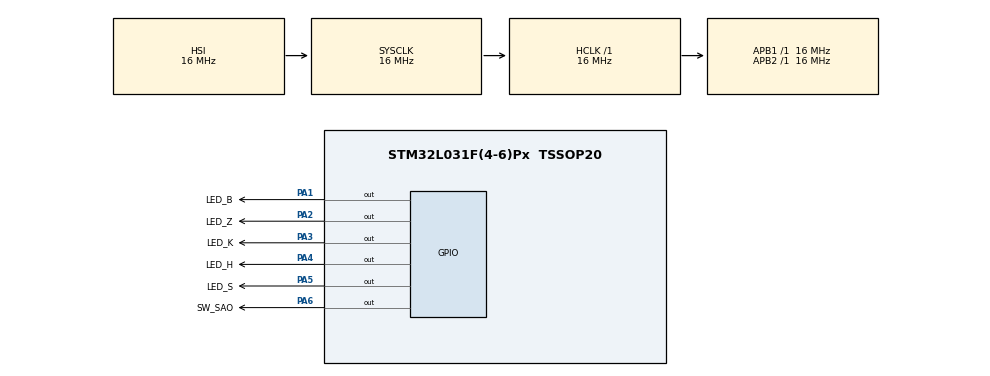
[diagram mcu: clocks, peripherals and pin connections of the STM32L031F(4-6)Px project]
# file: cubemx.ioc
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Mcu.Family=STM32L0
Mcu.Name=STM32L031F(4-6)Px
Mcu.Package=TSSOP20
PA1.GPIO_Label=LED_B
PA1.GPIO_ModeDefaultOutputPP=GPIO_MODE_OUTPUT_PP
PA1.GPIO_PuPd=GPIO_NOPULL
PA1.GPIO_Speed=GPIO_SPEED_FREQ_LOW
PA1.PinState=GPIO_PIN_SET
PA1.Signal=GPIO_Output
PA10.Signal=I2C1_SDA
PA13.Signal=LPUART1_RX
PA14.Signal=LPUART1_TX
PA2.GPIO_Label=LED_Z
PA2.GPIO_ModeDefaultOutputPP=GPIO_MODE_OUTPUT_PP
PA2.GPIO_PuPd=GPIO_NOPULL
PA2.GPIO_Speed=GPIO_SPEED_FREQ_LOW
PA2.PinState=GPIO_PIN_SET
PA2.Signal=GPIO_Output
PA3.GPIO_Label=LED_K
PA3.GPIO_ModeDefaultOutputPP=GPIO_MODE_OUTPUT_PP
PA3.GPIO_PuPd=GPIO_NOPULL
PA3.GPIO_Speed=GPIO_SPEED_FREQ_LOW
PA3.PinState=GPIO_PIN_SET
PA3.Signal=GPIO_Output
PA4.GPIO_Label=LED_H
PA4.GPIO_ModeDefaultOutputPP=GPIO_MODE_OUTPUT_PP
PA4.GPIO_PuPd=GPIO_NOPULL
PA4.GPIO_Speed=GPIO_SPEED_FREQ_LOW
PA4.PinState=GPIO_PIN_SET
PA4.Signal=GPIO_Output
PA5.GPIO_Label=LED_S
PA5.GPIO_ModeDefaultOutputPP=GPIO_MODE_OUTPUT_PP
PA5.GPIO_PuPd=GPIO_NOPULL
PA5.GPIO_Speed=GPIO_SPEED_FREQ_LOW
PA5.PinState=GPIO_PIN_SET
PA5.Signal=GPIO_Output
PA6.GPIO_Label=SW_SAO
PA6.GPIO_ModeDefaultOutputPP=GPIO_MODE_OUTPUT_PP
PA6.GPIO_PuPd=GPIO_NOPULL
PA6.GPIO_Speed=GPIO_SPEED_FREQ_LOW
PA6.PinState=GPIO_PIN_SET
PA6.Signal=GPIO_Output
PA9.Signal=I2C1_SCL
ProjectManager.HeapSize=0x200
ProjectManager.StackSize=0x400
ProjectManager.TargetToolchain=Makefile
RCC.AHBFreq_Value=16000000
RCC.APB1Freq_Value=16000000
RCC.APB1TimFreq_Value=16000000
RCC.APB2Freq_Value=16000000
RCC.APB2TimFreq_Value=16000000
RCC.HCLKFreq_Value=16000000
RCC.HSE_VALUE=8000000
RCC.HSI16_VALUE=16000000
RCC.HSI_VALUE=16000000
RCC.LSE_VALUE=32768
RCC.MSI_VALUE=2097000
RCC.SYSCLKFreq_VALUE=16000000
RCC.SYSCLKSource=RCC_SYSCLKSOURCE_HSI
RCC.VCOOutputFreq_Value=48000000
board=custom

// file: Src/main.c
/**
  ******************************************************************************
  * @file           : main.c
  * @brief          : Main program body
  ******************************************************************************
  ** This notice applies to any and all portions of this file
  * that are not between comment pairs USER CODE BEGIN and
  * USER CODE END. Other portions of this file, whether
  * inserted by the user or by software development tools
  * are owned by their respective copyright owners.
  *
  * COPYRIGHT(c) 2018 STMicroelectronics
  *
  * Redistribution and use in source and binary forms, with or without modification,
  * are permitted provided that the following conditions are met:
  *   1. Redistributions of source code must retain the above copyright notice,
  *      this list of conditions and the following disclaimer.
  *   2. Redistributions in binary form must reproduce the above copyright notice,
  *      this list of conditions and the following disclaimer in the documentation
  *      and/or other materials provided with the distribution.
  *   3. Neither the name of STMicroelectronics nor the names of its contributors
  *      may be used to endorse or promote products derived from this software
  *      without specific prior written permission.
  *
  * THIS SOFTWARE IS PROVIDED BY THE COPYRIGHT HOLDERS AND CONTRIBUTORS "AS IS"
  * AND ANY EXPRESS OR IMPLIED WARRANTIES, INCLUDING, BUT NOT LIMITED TO, THE
  * IMPLIED WARRANTIES OF MERCHANTABILITY AND FITNESS FOR A PARTICULAR PURPOSE ARE
  * DISCLAIMED. IN NO EVENT SHALL THE COPYRIGHT HOLDER OR CONTRIBUTORS BE LIABLE
  * FOR ANY DIRECT, INDIRECT, INCIDENTAL, SPECIAL, EXEMPLARY, OR CONSEQUENTIAL
  * DAMAGES (INCLUDING, BUT NOT LIMITED TO, PROCUREMENT OF SUBSTITUTE GOODS OR
  * SERVICES; LOSS OF USE, DATA, OR PROFITS; OR BUSINESS INTERRUPTION) HOWEVER
  * CAUSED AND ON ANY THEORY OF LIABILITY, WHETHER IN CONTRACT, STRICT LIABILITY,
  * OR TORT (INCLUDING NEGLIGENCE OR OTHERWISE) ARISING IN ANY WAY OUT OF THE USE
  * OF THIS SOFTWARE, EVEN IF ADVISED OF THE POSSIBILITY OF SUCH DAMAGE.
  *
  ******************************************************************************
  */
#include "main.h"
#include "stm32l0xx_hal.h"

/* USER CODE BEGIN PV */
/* Private variables ---------------------------------------------------------*/

/* USER CODE END PV */

void SystemClock_Config(void);
static void MX_GPIO_Init(void);

uint8_t rand(void);
void sequence(void);
void sequence_reverse(void);
void sequence_flash_after(void);
void sequence_reverse_flash_after(void);
void flash_all(void);
void flash_hold_sequence(void);
void flash_sequence(void);
void flash_sequence_times(uint8_t times);
void flash_times(uint8_t times);
void flash(GPIO_TypeDef* GPIOx, uint16_t pin);
void off(void);

/* USER CODE BEGIN PFP */
/* Private function prototypes -----------------------------------------------*/

/* USER CODE END PFP */

/* USER CODE BEGIN 0 */
#define MAX_RAND 500
uint8_t random_values[MAX_RAND] = {
  7, 3, 4, 6, 9, 2, 2, 9, 1, 9, 7, 5, 9, 2, 9, 2, 7, 8, 0, 4,
  5, 5, 0, 3, 6, 8, 0, 10, 0, 9, 0, 8, 6, 6, 8, 2, 10, 4, 6, 10,
  1, 6, 0, 5, 10, 2, 4, 2, 0, 2, 0, 10, 10, 3, 10, 9, 3, 4, 9, 6,
  0, 7, 0, 5, 8, 3, 3, 6, 8, 0, 6, 6, 3, 4, 4, 9, 1, 3, 7, 10,
  9, 4, 8, 9, 4, 4, 8, 10, 3, 9, 3, 9, 2, 5, 2, 3, 8, 4, 8, 10,
  10, 10, 2, 4, 10, 7, 8, 3, 5, 1, 1, 10, 2, 8, 8, 4, 4, 0, 2, 3,
  3, 10, 0, 2, 0, 9, 10, 0, 5, 6, 2, 10, 0, 9, 9, 0, 5, 9, 4, 1,
  4, 4, 8, 9, 7, 8, 0, 2, 10, 2, 1, 1, 4, 9, 9, 6, 6, 7, 1, 8,
  2, 3, 9, 0, 1, 6, 8, 7, 3, 1, 8, 7, 0, 3, 3, 3, 2, 3, 10, 5,
  6, 1, 8, 9, 1, 7, 6, 3, 5, 1, 0, 9, 9, 1, 5, 6, 1, 2, 4, 4,
  9, 0, 6, 2, 0, 7, 4, 7, 7, 2, 3, 7, 0, 9, 7, 5, 0, 6, 6, 5,
  10, 0, 3, 8, 5, 6, 4, 1, 7, 2, 4, 0, 6, 4, 10, 1, 0, 0, 7, 1,
  0, 6, 4, 3, 5, 2, 7, 1, 8, 8, 9, 6, 1, 5, 4, 5, 6, 10, 3, 5,
  3, 10, 5, 10, 6, 10, 0, 7, 5, 10, 7, 5, 3, 3, 6, 0, 10, 0, 4, 7,
  2, 6, 0, 1, 5, 3, 4, 2, 4, 9, 0, 7, 9, 5, 9, 8, 8, 0, 5, 8,
  1, 10, 6, 0, 1, 1, 5, 9, 1, 7, 5, 7, 2, 1, 9, 7, 9, 1, 6, 5,
  9, 3, 4, 0, 3, 8, 4, 0, 10, 6, 3, 3, 6, 4, 8, 2, 9, 8, 3, 3,
  10, 4, 2, 3, 8, 5, 5, 4, 0, 5, 8, 8, 3, 10, 9, 8, 5, 2, 1, 10,
  10, 2, 4, 6, 2, 7, 9, 6, 9, 10, 4, 3, 8, 7, 8, 1, 9, 8, 6, 3,
  7, 1, 5, 9, 0, 6, 8, 1, 8, 1, 3, 3, 0, 0, 7, 1, 1, 7, 5, 6,
  7, 3, 5, 0, 7, 1, 7, 6, 10, 6, 3, 5, 4, 9, 9, 7, 5, 6, 4, 6,
  7, 3, 2, 2, 0, 3, 8, 9, 7, 2, 5, 8, 4, 10, 3, 7, 6, 0, 5, 3,
  1, 7, 10, 10, 1, 10, 3, 3, 5, 8, 0, 6, 5, 9, 5, 1, 2, 1, 9, 1,
  1, 8, 6, 3, 7, 0, 8, 10, 7, 8, 7, 4, 0, 8, 3, 7, 8, 3, 10, 6,
  9, 6, 10, 8, 3, 4, 4, 7, 0, 10, 0, 0, 4, 7, 6, 7, 8, 9, 9, 8
};
uint current_value = 0;

uint8_t rand(void) {
  if(current_value >= MAX_RAND) {
    current_value = 0;
  }
  return random_values[current_value++];
}

void sequence(void) {
  HAL_GPIO_WritePin(GPIOA, LED_B_Pin, GPIO_PIN_SET);
  HAL_Delay(250);
  HAL_GPIO_WritePin(GPIOA, LED_Z_Pin, GPIO_PIN_SET);
  HAL_Delay(250);
  HAL_GPIO_WritePin(GPIOA, LED_K_Pin, GPIO_PIN_SET);
  HAL_Delay(250);
  HAL_GPIO_WritePin(GPIOA, LED_H_Pin, GPIO_PIN_SET);
  HAL_Delay(250);
  HAL_GPIO_WritePin(GPIOA, LED_S_Pin, GPIO_PIN_SET);
  HAL_Delay(250);
  HAL_GPIO_WritePin(GPIOA, SW_SAO_Pin, GPIO_PIN_SET);
  HAL_Delay(250);
  off();
}

void sequence_reverse(void) {
  HAL_GPIO_WritePin(GPIOA, LED_S_Pin, GPIO_PIN_SET);
  HAL_Delay(250);
  HAL_GPIO_WritePin(GPIOA, LED_H_Pin, GPIO_PIN_SET);
  HAL_Delay(250);
  HAL_GPIO_WritePin(GPIOA, LED_K_Pin, GPIO_PIN_SET);
  HAL_Delay(250);
  HAL_GPIO_WritePin(GPIOA, LED_Z_Pin, GPIO_PIN_SET);
  HAL_Delay(250);
  HAL_GPIO_WritePin(GPIOA, LED_B_Pin, GPIO_PIN_SET);
  HAL_Delay(250);
  HAL_GPIO_WritePin(GPIOA, SW_SAO_Pin, GPIO_PIN_SET);
  HAL_Delay(250);
  off();
}

void sequence_flash_after(void) {
  sequence();
  HAL_Delay(250);
  flash(
    GPIOA,
    LED_B_Pin|LED_Z_Pin|LED_K_Pin|LED_H_Pin|LED_S_Pin|SW_SAO_Pin
  );
  HAL_Delay(250);
  flash(
    GPIOA,
    LED_B_Pin|LED_Z_Pin|LED_K_Pin|LED_H_Pin|LED_S_Pin|SW_SAO_Pin
  );
}

void sequence_reverse_flash_after(void) {
  sequence_reverse();
  HAL_Delay(250);
  flash(
    GPIOA,
    LED_B_Pin|LED_Z_Pin|LED_K_Pin|LED_H_Pin|LED_S_Pin|SW_SAO_Pin
  );
  HAL_Delay(250);
  flash(
    GPIOA,
    LED_B_Pin|LED_Z_Pin|LED_K_Pin|LED_H_Pin|LED_S_Pin|SW_SAO_Pin
  );
}

void flash_all(void) {
  flash_times(3);
}

void flash_hold_sequence(void) {
  flash(GPIOA, LED_B_Pin);
  HAL_Delay(250);
  flash(GPIOA, LED_Z_Pin);
  HAL_Delay(250);
  flash(GPIOA, LED_K_Pin);
  HAL_Delay(250);
  flash(GPIOA, LED_H_Pin);
  HAL_Delay(250);
  flash(GPIOA, LED_S_Pin);
  HAL_Delay(250);
  flash(GPIOA, SW_SAO_Pin);
  HAL_Delay(250);
  off();
}

void flash_sequence(void) {
  flash(GPIOA, LED_B_Pin);
  flash(GPIOA, LED_Z_Pin);
  flash(GPIOA, LED_K_Pin);
  flash(GPIOA, LED_H_Pin);
  flash(GPIOA, LED_S_Pin);
  flash(GPIOA, SW_SAO_Pin);
}

void flash_sequence_times(uint8_t times) {
  for(uint8_t ii=times;ii>=0;ii--) {
    flash_sequence();
  }
}

void flash_times(uint8_t times) {
  for(uint8_t ii=times;ii>=0;ii--) {
    flash(
      GPIOA,
      LED_B_Pin|LED_Z_Pin|LED_K_Pin|LED_H_Pin|LED_S_Pin|SW_SAO_Pin
    );
    HAL_Delay(100);
  }
}

void flash(GPIO_TypeDef* GPIOx, uint16_t pin) {
  HAL_GPIO_WritePin(GPIOx, pin, GPIO_PIN_SET);
  HAL_Delay(250);
  HAL_GPIO_WritePin(GPIOx, pin, GPIO_PIN_RESET);
}

void off(void) {
  HAL_GPIO_WritePin(
    GPIOA,
    LED_B_Pin|LED_Z_Pin|LED_K_Pin|LED_H_Pin|LED_S_Pin|SW_SAO_Pin,
    GPIO_PIN_SET
  );
}

/**
  * @brief  The application loop call.
  *
  * @retval None
  */
void loop(void) {
  int random_value = rand();
  switch(random_value) {
    case 0:
      flash_all();
      break;
    case 1:
      sequence();
      break;
    case 2:
      sequence_reverse();
      break;
    case 3:
      sequence_flash_after();
      break;
    case 4:
      sequence_reverse_flash_after();
      break;
    case 5:
      flash_hold_sequence();
      break;
    case 6:
      flash_sequence();
      break;
    case 7:
    case 8:
    case 9:
    case 10:
      flash_sequence_times(5);
      flash_times(10);
      flash_sequence_times(10);
      break;
  }
  off();
  HAL_Delay(1000 * 60 * rand());
}

/* USER CODE END 0 */

int main(void)
{

  /* MCU Configuration----------------------------------------------------------*/

  /* Reset of all peripherals, Initializes the Flash interface and the Systick. */
  HAL_Init();

  /* Configure the system clock */
  SystemClock_Config();

  /* Initialize all configured peripherals */
  MX_GPIO_Init();

  /* Infinite loop */
  /* USER CODE BEGIN WHILE */
  while (1)
  {
    loop();
  /* USER CODE END WHILE */

  }

}

void SystemClock_Config(void)
{

  RCC_OscInitTypeDef RCC_OscInitStruct;
  RCC_ClkInitTypeDef RCC_ClkInitStruct;

    /**Configure the main internal regulator output voltage
    */
  __HAL_PWR_VOLTAGESCALING_CONFIG(PWR_REGULATOR_VOLTAGE_SCALE1);

    /**Initializes the CPU, AHB and APB busses clocks
    */
  RCC_OscInitStruct.OscillatorType = RCC_OSCILLATORTYPE_HSI;
  RCC_OscInitStruct.HSIState = RCC_HSI_ON;
  RCC_OscInitStruct.HSICalibrationValue = 16;
  RCC_OscInitStruct.PLL.PLLState = RCC_PLL_NONE;
  if (HAL_RCC_OscConfig(&RCC_OscInitStruct) != HAL_OK)
  {
    _Error_Handler(__FILE__, __LINE__);
  }

    /**Initializes the CPU, AHB and APB busses clocks
    */
  RCC_ClkInitStruct.ClockType = RCC_CLOCKTYPE_HCLK|RCC_CLOCKTYPE_SYSCLK
                              |RCC_CLOCKTYPE_PCLK1|RCC_CLOCKTYPE_PCLK2;
  RCC_ClkInitStruct.SYSCLKSource = RCC_SYSCLKSOURCE_HSI;
  RCC_ClkInitStruct.AHBCLKDivider = RCC_SYSCLK_DIV1;
  RCC_ClkInitStruct.APB1CLKDivider = RCC_HCLK_DIV1;
  RCC_ClkInitStruct.APB2CLKDivider = RCC_HCLK_DIV1;

  if (HAL_RCC_ClockConfig(&RCC_ClkInitStruct, FLASH_LATENCY_0) != HAL_OK)
  {
    _Error_Handler(__FILE__, __LINE__);
  }

    /**Configure the Systick interrupt time
    */
  HAL_SYSTICK_Config(HAL_RCC_GetHCLKFreq()/1000);

    /**Configure the Systick
    */
  HAL_SYSTICK_CLKSourceConfig(SYSTICK_CLKSOURCE_HCLK);

  /* SysTick_IRQn interrupt configuration */
  HAL_NVIC_SetPriority(SysTick_IRQn, 0, 0);
}

/** Configure pins as
        * Analog
        * Input
        * Output
        * EVENT_OUT
        * EXTI
     PA9   ------> I2C1_SCL
     PA10   ------> I2C1_SDA
     PA13   ------> LPUART1_RX
     PA14   ------> LPUART1_TX
*/
static void MX_GPIO_Init(void)
{

  GPIO_InitTypeDef GPIO_InitStruct;

  /* GPIO Ports Clock Enable */
  __HAL_RCC_GPIOA_CLK_ENABLE();

  /*Configure GPIO pin Output Level */
  HAL_GPIO_WritePin(GPIOA, LED_B_Pin|LED_Z_Pin|LED_K_Pin|LED_H_Pin
                          |LED_S_Pin|SW_SAO_Pin, GPIO_PIN_SET);

  /*Configure GPIO pins : LED_B_Pin LED_Z_Pin LED_K_Pin LED_H_Pin
                           LED_S_Pin SW_SAO_Pin */
  GPIO_InitStruct.Pin = LED_B_Pin|LED_Z_Pin|LED_K_Pin|LED_H_Pin
                          |LED_S_Pin|SW_SAO_Pin;
  GPIO_InitStruct.Mode = GPIO_MODE_OUTPUT_PP;
  GPIO_InitStruct.Pull = GPIO_NOPULL;
  GPIO_InitStruct.Speed = GPIO_SPEED_FREQ_LOW;
  HAL_GPIO_Init(GPIOA, &GPIO_InitStruct);

  /*Configure GPIO pins : PA9 PA10 */
  GPIO_InitStruct.Pin = GPIO_PIN_9|GPIO_PIN_10;
  GPIO_InitStruct.Mode = GPIO_MODE_AF_OD;
  GPIO_InitStruct.Pull = GPIO_PULLUP;
  GPIO_InitStruct.Speed = GPIO_SPEED_FREQ_VERY_HIGH;
  GPIO_InitStruct.Alternate = GPIO_AF1_I2C1;
  HAL_GPIO_Init(GPIOA, &GPIO_InitStruct);

  /*Configure GPIO pins : PA13 PA14 */
  GPIO_InitStruct.Pin = GPIO_PIN_13|GPIO_PIN_14;
  GPIO_InitStruct.Mode = GPIO_MODE_AF_PP;
  GPIO_InitStruct.Pull = GPIO_NOPULL;
  GPIO_InitStruct.Speed = GPIO_SPEED_FREQ_VERY_HIGH;
  GPIO_InitStruct.Alternate = GPIO_AF6_LPUART1;
  HAL_GPIO_Init(GPIOA, &GPIO_InitStruct);

}

void _Error_Handler(char *file, int line)
{
  while(1)
  {
  }
}

/************************ (C) COPYRIGHT STMicroelectronics *****END OF FILE****/
